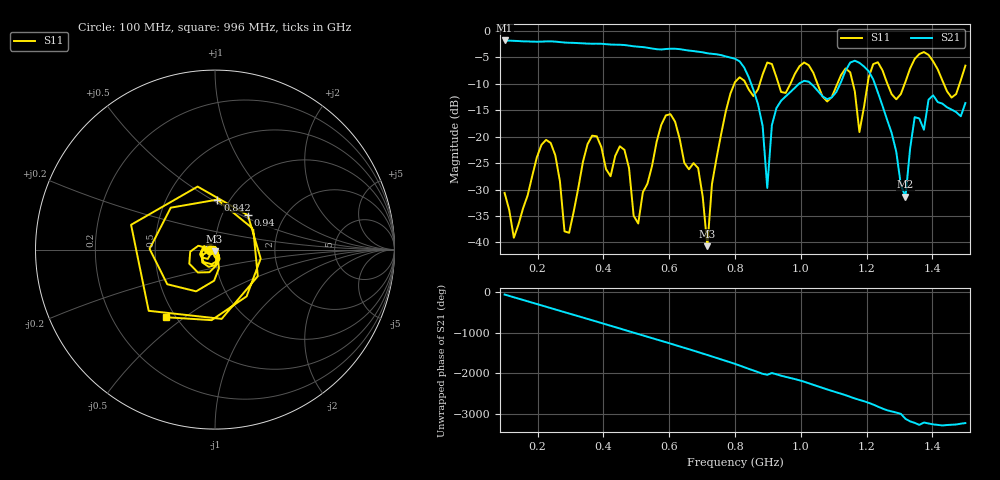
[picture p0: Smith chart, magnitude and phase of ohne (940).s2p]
! NanoVNA-App
! Date: 2025-09-25 14:28:07
! Start: 100MHz Stop: 1,5GHz Points: 101
! S-Parameter data: F S11 S21 S12 S22
# Hz S RI R 50
!  Frequency  S11_Real  S11_Imag  S21_Real  S21_Imag  S12_Real  S12_Imag  S22_Real  S22_Imag
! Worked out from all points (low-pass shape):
!   101 points, 100 MHz to 1.5 GHz, reference 50 ohm
!   highest |S21| = -1.79 dB at 100 MHz (marker M1); lowest = -31.4 dB at 1.318 GHz (marker M2)
!   |S21| within 3 dB of the highest: start of sweep to 770.8 MHz
!   lowest |S11| = -40.7 dB at 716 MHz (marker M3), VSWR 1.02, Z = 49.7 - j0.879 ohm
!   |S11| at or under -10 dB: start of sweep to 797.9 MHz; 833.1 MHz to 875.1 MHz (42.08 MHz wide, 4.93 % of centre); 1.051 GHz to 1.111 GHz (60.25 MHz wide, 5.57 % of centre) (the widest 3 of 7)
!   S12 and S22 are empty: the file has one direction only
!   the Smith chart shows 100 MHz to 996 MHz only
!   S11 on the Smith chart (normalised r, x): 100 MHz: 0.94, -0.01; 842 MHz: 0.88, +0.53; 940 MHz: 1.32, +0.54; 996 MHz: 0.45, -0.43
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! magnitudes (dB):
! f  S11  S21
! 100 MHz  -30.6  -1.8
! 128 MHz  -39.1  -1.9
! 226 MHz  -20.6  -2.0
! 296 MHz  -38.2  -2.2
! 338 MHz  -24.7  -2.3
! 464 MHz  -22.5  -2.7
! 506 MHz  -36.4  -3.0
! 576 MHz  -17.8  -3.5
! 688 MHz  -25.9  -3.9
! 716 MHz  -40.7  -4.2
! 800 MHz  -9.7  -5.2
! 842 MHz  -11.1  -8.8
! 898 MHz  -6.0  -29.7
! 940 MHz  -11.5  -13.2
! 996 MHz  -6.7  -9.9
! 1.038 GHz  -7.9  -10.4
! 1.178 GHz  -19.1  -6.0
! 1.22 GHz  -6.3  -9.2
! 1.276 GHz  -12.0  -19.3
! 1.318 GHz  -9.6  -31.4
! 1.346 GHz  -5.3  -16.3
! 1.5 GHz  -6.6  -13.6
